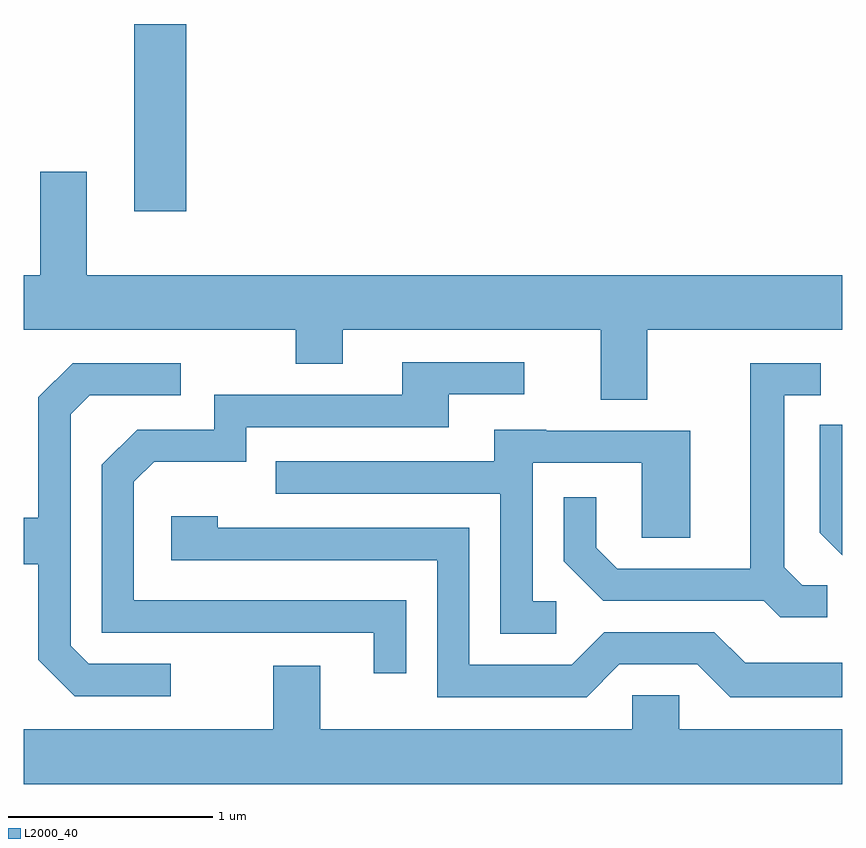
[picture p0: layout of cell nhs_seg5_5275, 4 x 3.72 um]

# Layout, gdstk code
import gdstk
lib = gdstk.Library(unit=1e-6, precision=1e-09)
def R(c, l, rs):  # rectangles x0, y0, x1, y1
    for r in rs: c.add(gdstk.rectangle(r[:2], r[2:], *l))
def P(c, l, *ps):  # polygons
    for p in ps: c.add(gdstk.Polygon(p, *l))
L2000_40 = (2000, 40)

nhs_seg5_5275 = lib.new_cell('nhs_seg5_5275')
R(nhs_seg5_5275, L2000_40, [(342.151,1455.156,342.404,1456.072)])
P(nhs_seg5_5275, L2000_40, [(344.659,1454.576),(345.611,1454.576),(345.611,1454.844),(341.919,1454.844),(341.919,1455.349),(341.691,1455.349),(341.691,1454.844),(341.611,1454.844),(341.611,1454.576),(342.941,1454.576),(342.941,1454.411),(343.169,1454.411),(343.169,1454.576),(344.431,1454.576),(344.431,1454.236),(344.659,1454.236)],
  [(343.479,1453.254),(342.149,1453.254),(342.149,1453.834),(342.247,1453.931),(342.699,1453.931),(342.699,1454.101),(343.689,1454.101),(343.689,1454.261),(344.058,1454.261),(344.058,1454.419),(343.461,1454.419),(343.461,1454.259),(342.541,1454.259),(342.541,1454.089),(342.164,1454.089),(341.991,1453.917),(341.991,1453.096),(343.321,1453.096),(343.321,1452.898),(343.479,1452.898)],
  [(342.328,1452.944),(341.927,1452.944),(341.839,1453.032),(341.839,1454.164),(341.932,1454.256),(342.378,1454.256),(342.378,1454.414),(341.849,1454.414),(341.681,1454.247),(341.681,1453.659),(341.611,1453.659),(341.611,1453.431),(341.681,1453.431),(341.681,1452.964),(341.859,1452.786),(342.328,1452.786)],
  [(345.538,1453.329),(345.417,1453.329),(345.329,1453.417),(345.329,1454.256),(345.508,1454.256),(345.508,1454.414),(345.161,1454.414),(345.161,1453.409),(344.512,1453.409),(344.409,1453.512),(344.409,1453.758),(344.251,1453.758),(344.251,1453.444),(344.444,1453.251),(345.229,1453.251),(345.309,1453.171),(345.538,1453.171)],
  [(345.611,1454.113),(345.501,1454.113),(345.501,1453.584),(345.611,1453.474)],
  [(344.213,1453.249),(344.099,1453.249),(344.099,1453.926),(344.631,1453.926),(344.631,1453.561),(344.869,1453.561),(344.869,1454.084),(344.165,1454.084),(344.165,1454.089),(343.911,1454.089),(343.911,1453.934),(342.843,1453.934),(342.843,1453.776),(343.941,1453.776),(343.941,1453.091),(344.213,1453.091)],
  [(344.522,1452.941),(344.904,1452.941),(345.064,1452.781),(345.611,1452.781),(345.611,1452.949),(345.137,1452.949),(344.987,1453.099),(344.449,1453.099),(344.289,1452.939),(343.789,1452.939),(343.789,1453.609),(342.559,1453.609),(342.559,1453.664),(342.331,1453.664),(342.331,1453.451),(343.631,1453.451),(343.631,1452.781),(344.362,1452.781)],
  [(345.611,1452.624),(344.814,1452.624),(344.814,1452.789),(344.586,1452.789),(344.586,1452.624),(343.059,1452.624),(343.059,1452.934),(342.831,1452.934),(342.831,1452.624),(341.611,1452.624),(341.611,1452.356),(345.611,1452.356)])

lib.write_gds('nhs_seg5_5275.gds')
